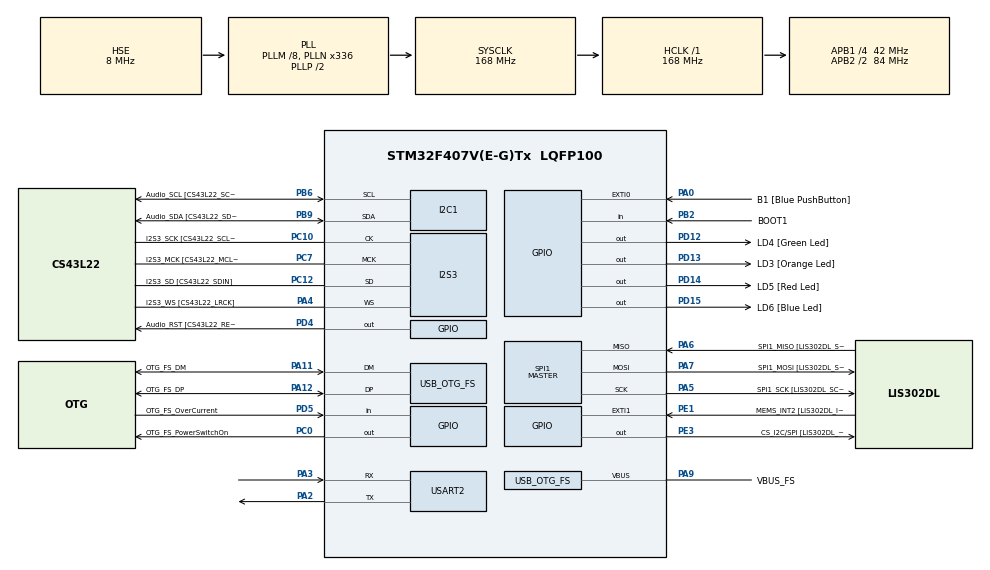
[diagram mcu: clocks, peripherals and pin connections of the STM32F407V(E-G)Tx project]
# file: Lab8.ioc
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FREERTOS.Queues01=myQueue01,8,uint16_t,0,Dynamic,NULL,NULL
FREERTOS.Tasks01=defaultTask,0,128,StartDefaultTask,Default,NULL,Dynamic,NULL,NULL
FREERTOS.Timers01=ledTimer,Callback01,osTimerPeriodic,Default,NULL,Dynamic,NULL
FREERTOS.configUSE_TIMERS=1
I2S3.AudioFreq-Half_Duplex_Master=I2S_AUDIOFREQ_96K
I2S3.ErrorAudioFreq=-2.34 %
I2S3.ErrorAudioFreq-Half_Duplex_Master=0.8 %
I2S3.FullDuplexMode=I2S_FULLDUPLEXMODE_DISABLE
I2S3.Instance=SPI$Index
I2S3.RealAudioFreq=93.75 KHz
I2S3.RealAudioFreq-Half_Duplex_Master=96.774 KHz
I2S3.VirtualMode=I2S_MODE_MASTER
Mcu.Family=STM32F4
Mcu.Name=STM32F407V(E-G)Tx
Mcu.Package=LQFP100
NVIC.OTG_FS_IRQn=true\:5\:0\:false\:false\:true\:true\:true
NVIC.PriorityGroup=NVIC_PRIORITYGROUP_4
PA0-WKUP.GPIO_Label=B1 [Blue PushButton]
PA0-WKUP.GPIO_ModeDefaultEXTI=GPIO_MODE_EVT_RISING
PA0-WKUP.GPIO_PuPd=GPIO_NOPULL
PA0-WKUP.Signal=GPXTI0
PA10.GPIO_Label=OTG_FS_ID
PA10.GPIO_Mode=GPIO_MODE_AF_PP
PA10.GPIO_PuPd=GPIO_NOPULL
PA10.GPIO_Speed=GPIO_SPEED_FREQ_LOW
PA10.Signal=USB_OTG_FS_ID
PA11.GPIO_Label=OTG_FS_DM
PA11.GPIO_Mode=GPIO_MODE_AF_PP
PA11.GPIO_PuPd=GPIO_NOPULL
PA11.GPIO_Speed=GPIO_SPEED_FREQ_LOW
PA11.Mode=Host_Only
PA11.Signal=USB_OTG_FS_DM
PA12.GPIO_Label=OTG_FS_DP
PA12.GPIO_Mode=GPIO_MODE_AF_PP
PA12.GPIO_PuPd=GPIO_NOPULL
PA12.GPIO_Speed=GPIO_SPEED_FREQ_LOW
PA12.Mode=Host_Only
PA12.Signal=USB_OTG_FS_DP
PA13.GPIO_Label=SWDIO
PA13.Mode=Serial_Wire
PA13.Signal=SYS_JTMS-SWDIO
PA14.GPIO_Label=SWCLK
PA14.Mode=Serial_Wire
PA14.Signal=SYS_JTCK-SWCLK
PA2.Mode=Asynchronous
PA2.Signal=USART2_TX
PA3.Mode=Asynchronous
PA3.Signal=USART2_RX
PA4.GPIO_Label=I2S3_WS [CS43L22_LRCK]
PA4.GPIO_Mode=GPIO_MODE_AF_PP
PA4.GPIO_PuPd=GPIO_NOPULL
PA4.GPIO_Speed=GPIO_SPEED_FREQ_LOW
PA4.Mode=Half_Duplex_Master
PA4.Signal=I2S3_WS
PA5.GPIO_Label=SPI1_SCK [LIS302DL_SCL/SPC]
PA5.GPIO_Mode=GPIO_MODE_AF_PP
PA5.GPIO_PuPd=GPIO_NOPULL
PA5.GPIO_Speed=GPIO_SPEED_FREQ_LOW
PA5.Mode=Full_Duplex_Master
PA5.Signal=SPI1_SCK
PA6.GPIO_Label=SPI1_MISO [LIS302DL_SDO]
PA6.GPIO_Mode=GPIO_MODE_AF_PP
PA6.GPIO_PuPd=GPIO_NOPULL
PA6.GPIO_Speed=GPIO_SPEED_FREQ_LOW
PA6.Mode=Full_Duplex_Master
PA6.Signal=SPI1_MISO
PA7.GPIO_Label=SPI1_MOSI [LIS302DL_SDA/SDI/SDO]
PA7.GPIO_Mode=GPIO_MODE_AF_PP
PA7.GPIO_PuPd=GPIO_NOPULL
PA7.GPIO_Speed=GPIO_SPEED_FREQ_LOW
PA7.Mode=Full_Duplex_Master
PA7.Signal=SPI1_MOSI
PA9.GPIO_Label=VBUS_FS
PA9.GPIO_Mode=GPIO_MODE_INPUT
PA9.GPIO_PuPd=GPIO_NOPULL
PA9.Mode=Activate_VBUS
PA9.Signal=USB_OTG_FS_VBUS
PB10.GPIO_Label=CLK_IN [MP45DT02_CLK]
PB10.GPIO_Mode=GPIO_MODE_AF_PP
PB10.GPIO_PuPd=GPIO_NOPULL
PB10.GPIO_Speed=GPIO_SPEED_FREQ_LOW
PB10.Signal=I2S2_CK
PB2.GPIO_Label=BOOT1
PB2.GPIO_Mode=GPIO_MODE_INPUT
PB2.GPIO_PuPd=GPIO_NOPULL
PB2.Signal=GPIO_Input
PB3.GPIO_Label=SWO
PB3.Signal=SYS_JTDO-SWO
PB6.GPIO_Label=Audio_SCL [CS43L22_SCL]
PB6.GPIO_Mode=GPIO_MODE_AF_OD
PB6.GPIO_PuPd=GPIO_NOPULL
PB6.GPIO_Speed=GPIO_SPEED_FREQ_LOW
PB6.Mode=I2C
PB6.Signal=I2C1_SCL
PB9.GPIO_Label=Audio_SDA [CS43L22_SDA]
PB9.GPIO_Mode=GPIO_MODE_AF_OD
PB9.GPIO_PuPd=GPIO_NOPULL
PB9.GPIO_Speed=GPIO_SPEED_FREQ_LOW
PB9.Mode=I2C
PB9.Signal=I2C1_SDA
PC0.GPIO_Label=OTG_FS_PowerSwitchOn
PC0.GPIO_PuPd=GPIO_NOPULL
PC0.GPIO_Speed=GPIO_SPEED_FREQ_LOW
PC0.PinState=GPIO_PIN_SET
PC0.Signal=GPIO_Output
PC10.GPIO_Label=I2S3_SCK [CS43L22_SCLK]
PC10.GPIO_Mode=GPIO_MODE_AF_PP
PC10.GPIO_PuPd=GPIO_NOPULL
PC10.GPIO_Speed=GPIO_SPEED_FREQ_LOW
PC10.Mode=Half_Duplex_Master
PC10.Signal=I2S3_CK
PC12.GPIO_Label=I2S3_SD [CS43L22_SDIN]
PC12.GPIO_Mode=GPIO_MODE_AF_PP
PC12.GPIO_PuPd=GPIO_NOPULL
PC12.GPIO_Speed=GPIO_SPEED_FREQ_LOW
PC12.Mode=Half_Duplex_Master
PC12.Signal=I2S3_SD
PC14-OSC32_IN.GPIO_Label=PC14-OSC32_IN
PC14-OSC32_IN.Mode=LSE-External-Oscillator
PC14-OSC32_IN.Signal=RCC_OSC32_IN
PC15-OSC32_OUT.GPIO_Label=PC15-OSC32_OUT
PC15-OSC32_OUT.Mode=LSE-External-Oscillator
PC15-OSC32_OUT.Signal=RCC_OSC32_OUT
PC3.GPIO_Label=PDM_OUT [MP45DT02_DOUT]
PC3.GPIO_Mode=GPIO_MODE_AF_PP
PC3.GPIO_PuPd=GPIO_NOPULL
PC3.GPIO_Speed=GPIO_SPEED_FREQ_LOW
PC3.Signal=I2S2_SD
PC7.GPIO_Label=I2S3_MCK [CS43L22_MCLK]
PC7.GPIO_Mode=GPIO_MODE_AF_PP
PC7.GPIO_PuPd=GPIO_NOPULL
PC7.GPIO_Speed=GPIO_SPEED_FREQ_LOW
PC7.Mode=Master_Clock_Activated
PC7.Signal=I2S3_MCK
PD12.GPIO_Label=LD4 [Green Led]
PD12.GPIO_PuPd=GPIO_NOPULL
PD12.GPIO_Speed=GPIO_SPEED_FREQ_LOW
PD12.Signal=GPIO_Output
PD13.GPIO_Label=LD3 [Orange Led]
PD13.GPIO_PuPd=GPIO_NOPULL
PD13.GPIO_Speed=GPIO_SPEED_FREQ_LOW
PD13.Signal=GPIO_Output
PD14.GPIO_Label=LD5 [Red Led]
PD14.GPIO_PuPd=GPIO_NOPULL
PD14.GPIO_Speed=GPIO_SPEED_FREQ_LOW
PD14.Signal=GPIO_Output
PD15.GPIO_Label=LD6 [Blue Led]
PD15.GPIO_PuPd=GPIO_NOPULL
PD15.GPIO_Speed=GPIO_SPEED_FREQ_LOW
PD15.Signal=GPIO_Output
PD4.GPIO_Label=Audio_RST [CS43L22_RESET]
PD4.GPIO_PuPd=GPIO_NOPULL
PD4.GPIO_Speed=GPIO_SPEED_FREQ_LOW
PD4.Signal=GPIO_Output
PD5.GPIO_Label=OTG_FS_OverCurrent
PD5.GPIO_Mode=GPIO_MODE_INPUT
PD5.GPIO_PuPd=GPIO_NOPULL
PD5.Signal=GPIO_Input
PE1.GPIO_Label=MEMS_INT2 [LIS302DL_INT2]
PE1.GPIO_ModeDefaultEXTI=GPIO_MODE_EVT_RISING
PE1.GPIO_PuPd=GPIO_NOPULL
PE1.Signal=GPXTI1
PE3.GPIO_Label=CS_I2C/SPI [LIS302DL_CS_I2C/SPI]
PE3.GPIO_PuPd=GPIO_NOPULL
PE3.GPIO_Speed=GPIO_SPEED_FREQ_LOW
PE3.Signal=GPIO_Output
PH0-OSC_IN.GPIO_Label=PH0-OSC_IN
PH0-OSC_IN.Mode=HSE-External-Oscillator
PH0-OSC_IN.Signal=RCC_OSC_IN
PH1-OSC_OUT.GPIO_Label=PH1-OSC_OUT
PH1-OSC_OUT.Mode=HSE-External-Oscillator
PH1-OSC_OUT.Signal=RCC_OSC_OUT
ProjectManager.HeapSize=0x200
ProjectManager.StackSize=0x400
ProjectManager.TargetToolchain=SW4STM32
RCC.48MHZClocksFreq_Value=48000000
RCC.AHBFreq_Value=168000000
RCC.APB1CLKDivider=RCC_HCLK_DIV4
RCC.APB1Freq_Value=42000000
RCC.APB1TimFreq_Value=84000000
RCC.APB2CLKDivider=RCC_HCLK_DIV2
RCC.APB2Freq_Value=84000000
RCC.APB2TimFreq_Value=168000000
RCC.CortexFreq_Value=168000000
RCC.HCLKFreq_Value=168000000
RCC.HSE_VALUE=8000000
RCC.HSI_VALUE=16000000
RCC.PLLM=8
RCC.PLLN=336
RCC.PLLQ=7
RCC.SYSCLKFreq_VALUE=168000000
RCC.SYSCLKSource=RCC_SYSCLKSOURCE_PLLCLK
RCC.VCOOutputFreq_Value=336000000
SPI1.BaudRatePrescaler-Full_Duplex_Master=SPI_BAUDRATEPRESCALER_2
SPI1.CalculateBaudRate-Full_Duplex_Master=42.0 MBits/s
SPI1.Direction=SPI_DIRECTION_2LINES
SPI1.Mode=SPI_MODE_MASTER
SPI1.Mode-Full_Duplex_Master=SPI_MODE_MASTER
SPI1.VirtualType=VM_MASTER
USART2.VirtualMode=VM_ASYNC
USB_HOST.BSP.number=1
USB_HOST.USBH_HandleTypeDef-CDC_FS=hUsbHostFS
USB_HOST.VirtualModeFS=Cdc
USB_HOST0.BSP.STBoard=false
USB_HOST0.BSP.api=Unknown
USB_HOST0.BSP.i2caddr=0
USB_HOST0.BSP.i2creg=0
USB_HOST0.BSP.instance=PC0
USB_HOST0.BSP.ip=GPIO
USB_HOST0.BSP.mode=Output
USB_HOST0.BSP.name=Drive_VBUS_FS
USB_HOST0.BSP.solution=PC0
USB_OTG_FS.VirtualMode=Host_Only
USB_OTG_FS.phy_itface=HCD_PHY_EMBEDDED
VP_FREERTOS_VS_ENABLE.Mode=Enabled
VP_USB_HOST_VS_USB_HOST_CDC_FS.Mode=CDC_FS
board=STM32F4DISCOVERY

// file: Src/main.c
/**
  ******************************************************************************
  * @file           : main.c
  * @brief          : Main program body
  ******************************************************************************
  * This notice applies to any and all portions of this file
  * that are not between comment pairs USER CODE BEGIN and
  * USER CODE END. Other portions of this file, whether
  * inserted by the user or by software development tools
  * are owned by their respective copyright owners.
  *
  * Copyright (c) 2018 STMicroelectronics International N.V.
  * All rights reserved.
  *
  * Redistribution and use in source and binary forms, with or without
  * modification, are permitted, provided that the following conditions are met:
  *
  * 1. Redistribution of source code must retain the above copyright notice,
  *    this list of conditions and the following disclaimer.
  * 2. Redistributions in binary form must reproduce the above copyright notice,
  *    this list of conditions and the following disclaimer in the documentation
  *    and/or other materials provided with the distribution.
  * 3. Neither the name of STMicroelectronics nor the names of other
  *    contributors to this software may be used to endorse or promote products
  *    derived from this software without specific written permission.
  * 4. This software, including modifications and/or derivative works of this
  *    software, must execute solely and exclusively on microcontroller or
  *    microprocessor devices manufactured by or for STMicroelectronics.
  * 5. Redistribution and use of this software other than as permitted under
  *    this license is void and will automatically terminate your rights under
  *    this license.
  *
  * THIS SOFTWARE IS PROVIDED BY STMICROELECTRONICS AND CONTRIBUTORS "AS IS"
  * AND ANY EXPRESS, IMPLIED OR STATUTORY WARRANTIES, INCLUDING, BUT NOT
  * LIMITED TO, THE IMPLIED WARRANTIES OF MERCHANTABILITY, FITNESS FOR A
  * PARTICULAR PURPOSE AND NON-INFRINGEMENT OF THIRD PARTY INTELLECTUAL PROPERTY
  * RIGHTS ARE DISCLAIMED TO THE FULLEST EXTENT PERMITTED BY LAW. IN NO EVENT
  * SHALL STMICROELECTRONICS OR CONTRIBUTORS BE LIABLE FOR ANY DIRECT, INDIRECT,
  * INCIDENTAL, SPECIAL, EXEMPLARY, OR CONSEQUENTIAL DAMAGES (INCLUDING, BUT NOT
  * LIMITED TO, PROCUREMENT OF SUBSTITUTE GOODS OR SERVICES; LOSS OF USE, DATA,
  * OR PROFITS; OR BUSINESS INTERRUPTION) HOWEVER CAUSED AND ON ANY THEORY OF
  * LIABILITY, WHETHER IN CONTRACT, STRICT LIABILITY, OR TORT (INCLUDING
  * NEGLIGENCE OR OTHERWISE) ARISING IN ANY WAY OUT OF THE USE OF THIS SOFTWARE,
  * EVEN IF ADVISED OF THE POSSIBILITY OF SUCH DAMAGE.
  *
  ******************************************************************************
  */
#include "main.h"
#include "stm32f4xx_hal.h"
#include "cmsis_os.h"
#include "usb_host.h"

/* USER CODE BEGIN Includes */
#define SECTION 1
/* USER CODE END Includes */

I2C_HandleTypeDef hi2c1;

I2S_HandleTypeDef hi2s3;

SPI_HandleTypeDef hspi1;

UART_HandleTypeDef huart2;

osThreadId defaultTaskHandle;
osMessageQId myQueue01Handle;
osTimerId ledTimerHandle;

/* USER CODE BEGIN PV */
/* Private variables ---------------------------------------------------------*/

/* USER CODE END PV */

void SystemClock_Config(void);
static void MX_GPIO_Init(void);
static void MX_I2C1_Init(void);
static void MX_I2S3_Init(void);
static void MX_SPI1_Init(void);
static void MX_USART2_UART_Init(void);
void StartDefaultTask(void const * argument);
void Callback01(void const * argument);

/* USER CODE BEGIN PFP */
/* Private function prototypes -----------------------------------------------*/

/* USER CODE END PFP */

/* USER CODE BEGIN 0 */
uint32_t led_time[] = {0, 0, 0, 0};
uint32_t led_delay[] = {25, 9, 64, 32};
#if SECTION >= 1
void led_update(char idx, uint32_t time)
{
	if ((time - led_time[idx]) >= led_delay[idx])
	{
		HAL_GPIO_TogglePin(GPIOD, 1 < (12+idx));
		led_time[idx] = time;
	}
}
void led_thread(void const *args)
{
	while(1)
	{
		char i = 0;
		for (i=0;i<4;i++)
		{
			led_update(i, osKernelSysTick());
		}
	}
}

#endif
#if SECTION >= 3
SemaphoreHandle_t xSemaphore;
int idx = 0;
void uart0_thread(void const * args) {
	int threadID = 0; // threadID is 0 for one thread and 1 for another
	char buffer[32];
	while(1) {
		if (xSemaphore != NULL && xSemaphoreTake( xSemaphore, ( TickType_t ) 10 ) == pdTRUE)
		{
#if SECTION == 4
			xQueueReceive( myQueue01Handle, &( idx ), ( TickType_t ) 10 );
#endif
			sprintf(buffer, "TID: %d %d\r\n", threadID, idx);
			idx ++;
			HAL_UART_Transmit(&huart2, buffer, strlen(buffer), 1000);
#if SECTION == 4
			xQueueSend(myQueue01Handle, &(idx), ( TickType_t ) 10 );
#endif
			xSemaphoreGive( xSemaphore );
		}
	}
}
void uart1_thread(void const * args) {
	int threadID = 1; // threadID is 0 for one thread and 1 for another
	char buffer[32];
	while(1) {
		if (xSemaphore != NULL && xSemaphoreTake( xSemaphore, ( TickType_t ) 10 ) == pdTRUE)
		{
#if SECTION == 4
			xQueueReceive( myQueue01Handle, &( idx ), ( TickType_t ) 10 );
#endif
			sprintf(buffer, "TID: %d %d\r\n", threadID, idx);
			idx ++;
			HAL_UART_Transmit(&huart2, buffer, strlen(buffer), 1000);
#if SECTION == 4
			xQueueSend(myQueue01Handle, &(idx), ( TickType_t ) 10 );
#endif
			xSemaphoreGive( xSemaphore );
		}
	}
}
#endif
/* USER CODE END 0 */

int main(void)
{

  /* MCU Configuration----------------------------------------------------------*/

  /* Reset of all peripherals, Initializes the Flash interface and the Systick. */
  HAL_Init();

  /* Configure the system clock */
  SystemClock_Config();

  /* Initialize all configured peripherals */
  MX_GPIO_Init();
  MX_I2C1_Init();
  MX_I2S3_Init();
  MX_SPI1_Init();
  MX_USART2_UART_Init();

  /* USER CODE BEGIN RTOS_SEMAPHORES */
  /* add semaphores, ... */
#if SECTION >= 3
  xSemaphore = xSemaphoreCreateBinary();
#endif
  /* USER CODE END RTOS_SEMAPHORES */

  /* Create the timer(s) */
  /* definition and creation of ledTimer */
  osTimerDef(ledTimer, Callback01);
  ledTimerHandle = osTimerCreate(osTimer(ledTimer), osTimerPeriodic, NULL);

  /* Create the thread(s) */
  /* definition and creation of defaultTask */
  osThreadDef(defaultTask, StartDefaultTask, osPriorityNormal, 0, 128);
  defaultTaskHandle = osThreadCreate(osThread(defaultTask), NULL);

  /* USER CODE BEGIN RTOS_THREADS */
  /* add threads, ... */
#if SECTION == 1
  osThreadDef(led, led_thread, osPriorityNormal, 0, 128);
  osThreadId ledTaskHandle = osThreadCreate(osThread(led), NULL);
#elif SECTION >= 3
  osThreadDef(uart0, uart0_thread, osPriorityNormal, 0, 128);
  osThreadId uart0TaskHandle = osThreadCreate(osThread(uart0), NULL);
  osThreadDef(uart1, uart1_thread, osPriorityNormal, 0, 128);
  osThreadId uart1TaskHandle = osThreadCreate(osThread(uart1), NULL);
#endif
  /* USER CODE END RTOS_THREADS */

  /* Create the queue(s) */
  /* definition and creation of myQueue01 */
/* what about the sizeof here??? cd native code */
  osMessageQDef(myQueue01, 8, uint16_t);
  myQueue01Handle = osMessageCreate(osMessageQ(myQueue01), NULL);

  /* Start scheduler */
  osKernelStart();

  /* We should never get here as control is now taken by the scheduler */

  /* Infinite loop */
  while (1)
  {

  }

}

void SystemClock_Config(void)
{

  RCC_OscInitTypeDef RCC_OscInitStruct;
  RCC_ClkInitTypeDef RCC_ClkInitStruct;
  RCC_PeriphCLKInitTypeDef PeriphClkInitStruct;

    /**Configure the main internal regulator output voltage
    */
  __HAL_RCC_PWR_CLK_ENABLE();

  __HAL_PWR_VOLTAGESCALING_CONFIG(PWR_REGULATOR_VOLTAGE_SCALE1);

    /**Initializes the CPU, AHB and APB busses clocks
    */
  RCC_OscInitStruct.OscillatorType = RCC_OSCILLATORTYPE_HSE;
  RCC_OscInitStruct.HSEState = RCC_HSE_ON;
  RCC_OscInitStruct.PLL.PLLState = RCC_PLL_ON;
  RCC_OscInitStruct.PLL.PLLSource = RCC_PLLSOURCE_HSE;
  RCC_OscInitStruct.PLL.PLLM = 8;
  RCC_OscInitStruct.PLL.PLLN = 336;
  RCC_OscInitStruct.PLL.PLLP = RCC_PLLP_DIV2;
  RCC_OscInitStruct.PLL.PLLQ = 7;
  if (HAL_RCC_OscConfig(&RCC_OscInitStruct) != HAL_OK)
  {
    _Error_Handler(__FILE__, __LINE__);
  }

    /**Initializes the CPU, AHB and APB busses clocks
    */
  RCC_ClkInitStruct.ClockType = RCC_CLOCKTYPE_HCLK|RCC_CLOCKTYPE_SYSCLK
                              |RCC_CLOCKTYPE_PCLK1|RCC_CLOCKTYPE_PCLK2;
  RCC_ClkInitStruct.SYSCLKSource = RCC_SYSCLKSOURCE_PLLCLK;
  RCC_ClkInitStruct.AHBCLKDivider = RCC_SYSCLK_DIV1;
  RCC_ClkInitStruct.APB1CLKDivider = RCC_HCLK_DIV4;
  RCC_ClkInitStruct.APB2CLKDivider = RCC_HCLK_DIV2;

  if (HAL_RCC_ClockConfig(&RCC_ClkInitStruct, FLASH_LATENCY_5) != HAL_OK)
  {
    _Error_Handler(__FILE__, __LINE__);
  }

  PeriphClkInitStruct.PeriphClockSelection = RCC_PERIPHCLK_I2S;
  PeriphClkInitStruct.PLLI2S.PLLI2SN = 192;
  PeriphClkInitStruct.PLLI2S.PLLI2SR = 2;
  if (HAL_RCCEx_PeriphCLKConfig(&PeriphClkInitStruct) != HAL_OK)
  {
    _Error_Handler(__FILE__, __LINE__);
  }

    /**Configure the Systick interrupt time
    */
  HAL_SYSTICK_Config(HAL_RCC_GetHCLKFreq()/1000);

    /**Configure the Systick
    */
  HAL_SYSTICK_CLKSourceConfig(SYSTICK_CLKSOURCE_HCLK);

  /* SysTick_IRQn interrupt configuration */
  HAL_NVIC_SetPriority(SysTick_IRQn, 15, 0);
}

/* I2C1 init function */
static void MX_I2C1_Init(void)
{

  hi2c1.Instance = I2C1;
  hi2c1.Init.ClockSpeed = 100000;
  hi2c1.Init.DutyCycle = I2C_DUTYCYCLE_2;
  hi2c1.Init.OwnAddress1 = 0;
  hi2c1.Init.AddressingMode = I2C_ADDRESSINGMODE_7BIT;
  hi2c1.Init.DualAddressMode = I2C_DUALADDRESS_DISABLE;
  hi2c1.Init.OwnAddress2 = 0;
  hi2c1.Init.GeneralCallMode = I2C_GENERALCALL_DISABLE;
  hi2c1.Init.NoStretchMode = I2C_NOSTRETCH_DISABLE;
  if (HAL_I2C_Init(&hi2c1) != HAL_OK)
  {
    _Error_Handler(__FILE__, __LINE__);
  }

}

/* I2S3 init function */
static void MX_I2S3_Init(void)
{

  hi2s3.Instance = SPI3;
  hi2s3.Init.Mode = I2S_MODE_MASTER_TX;
  hi2s3.Init.Standard = I2S_STANDARD_PHILIPS;
  hi2s3.Init.DataFormat = I2S_DATAFORMAT_16B;
  hi2s3.Init.MCLKOutput = I2S_MCLKOUTPUT_ENABLE;
  hi2s3.Init.AudioFreq = I2S_AUDIOFREQ_96K;
  hi2s3.Init.CPOL = I2S_CPOL_LOW;
  hi2s3.Init.ClockSource = I2S_CLOCK_PLL;
  hi2s3.Init.FullDuplexMode = I2S_FULLDUPLEXMODE_DISABLE;
  if (HAL_I2S_Init(&hi2s3) != HAL_OK)
  {
    _Error_Handler(__FILE__, __LINE__);
  }

}

/* SPI1 init function */
static void MX_SPI1_Init(void)
{

  /* SPI1 parameter configuration*/
  hspi1.Instance = SPI1;
  hspi1.Init.Mode = SPI_MODE_MASTER;
  hspi1.Init.Direction = SPI_DIRECTION_2LINES;
  hspi1.Init.DataSize = SPI_DATASIZE_8BIT;
  hspi1.Init.CLKPolarity = SPI_POLARITY_LOW;
  hspi1.Init.CLKPhase = SPI_PHASE_1EDGE;
  hspi1.Init.NSS = SPI_NSS_SOFT;
  hspi1.Init.BaudRatePrescaler = SPI_BAUDRATEPRESCALER_2;
  hspi1.Init.FirstBit = SPI_FIRSTBIT_MSB;
  hspi1.Init.TIMode = SPI_TIMODE_DISABLE;
  hspi1.Init.CRCCalculation = SPI_CRCCALCULATION_DISABLE;
  hspi1.Init.CRCPolynomial = 10;
  if (HAL_SPI_Init(&hspi1) != HAL_OK)
  {
    _Error_Handler(__FILE__, __LINE__);
  }

}

/* USART2 init function */
static void MX_USART2_UART_Init(void)
{

  huart2.Instance = USART2;
  huart2.Init.BaudRate = 115200;
  huart2.Init.WordLength = UART_WORDLENGTH_8B;
  huart2.Init.StopBits = UART_STOPBITS_1;
  huart2.Init.Parity = UART_PARITY_NONE;
  huart2.Init.Mode = UART_MODE_TX_RX;
  huart2.Init.HwFlowCtl = UART_HWCONTROL_NONE;
  huart2.Init.OverSampling = UART_OVERSAMPLING_16;
  if (HAL_UART_Init(&huart2) != HAL_OK)
  {
    _Error_Handler(__FILE__, __LINE__);
  }

}

/** Configure pins as
        * Analog
        * Input
        * Output
        * EVENT_OUT
        * EXTI
     PC3   ------> I2S2_SD
     PB10   ------> I2S2_CK
*/
static void MX_GPIO_Init(void)
{

  GPIO_InitTypeDef GPIO_InitStruct;

  /* GPIO Ports Clock Enable */
  __HAL_RCC_GPIOE_CLK_ENABLE();
  __HAL_RCC_GPIOC_CLK_ENABLE();
  __HAL_RCC_GPIOH_CLK_ENABLE();
  __HAL_RCC_GPIOA_CLK_ENABLE();
  __HAL_RCC_GPIOB_CLK_ENABLE();
  __HAL_RCC_GPIOD_CLK_ENABLE();

  /*Configure GPIO pin Output Level */
  HAL_GPIO_WritePin(CS_I2C_SPI_GPIO_Port, CS_I2C_SPI_Pin, GPIO_PIN_RESET);

  /*Configure GPIO pin Output Level */
  HAL_GPIO_WritePin(OTG_FS_PowerSwitchOn_GPIO_Port, OTG_FS_PowerSwitchOn_Pin, GPIO_PIN_SET);

  /*Configure GPIO pin Output Level */
  HAL_GPIO_WritePin(GPIOD, LD4_Pin|LD3_Pin|LD5_Pin|LD6_Pin
                          |Audio_RST_Pin, GPIO_PIN_RESET);

  /*Configure GPIO pin : CS_I2C_SPI_Pin */
  GPIO_InitStruct.Pin = CS_I2C_SPI_Pin;
  GPIO_InitStruct.Mode = GPIO_MODE_OUTPUT_PP;
  GPIO_InitStruct.Pull = GPIO_NOPULL;
  GPIO_InitStruct.Speed = GPIO_SPEED_FREQ_LOW;
  HAL_GPIO_Init(CS_I2C_SPI_GPIO_Port, &GPIO_InitStruct);

  /*Configure GPIO pin : OTG_FS_PowerSwitchOn_Pin */
  GPIO_InitStruct.Pin = OTG_FS_PowerSwitchOn_Pin;
  GPIO_InitStruct.Mode = GPIO_MODE_OUTPUT_PP;
  GPIO_InitStruct.Pull = GPIO_NOPULL;
  GPIO_InitStruct.Speed = GPIO_SPEED_FREQ_LOW;
  HAL_GPIO_Init(OTG_FS_PowerSwitchOn_GPIO_Port, &GPIO_InitStruct);

  /*Configure GPIO pin : PDM_OUT_Pin */
  GPIO_InitStruct.Pin = PDM_OUT_Pin;
  GPIO_InitStruct.Mode = GPIO_MODE_AF_PP;
  GPIO_InitStruct.Pull = GPIO_NOPULL;
  GPIO_InitStruct.Speed = GPIO_SPEED_FREQ_LOW;
  GPIO_InitStruct.Alternate = GPIO_AF5_SPI2;
  HAL_GPIO_Init(PDM_OUT_GPIO_Port, &GPIO_InitStruct);

  /*Configure GPIO pin : B1_Pin */
  GPIO_InitStruct.Pin = B1_Pin;
  GPIO_InitStruct.Mode = GPIO_MODE_EVT_RISING;
  GPIO_InitStruct.Pull = GPIO_NOPULL;
  HAL_GPIO_Init(B1_GPIO_Port, &GPIO_InitStruct);

  /*Configure GPIO pin : BOOT1_Pin */
  GPIO_InitStruct.Pin = BOOT1_Pin;
  GPIO_InitStruct.Mode = GPIO_MODE_INPUT;
  GPIO_InitStruct.Pull = GPIO_NOPULL;
  HAL_GPIO_Init(BOOT1_GPIO_Port, &GPIO_InitStruct);

  /*Configure GPIO pin : CLK_IN_Pin */
  GPIO_InitStruct.Pin = CLK_IN_Pin;
  GPIO_InitStruct.Mode = GPIO_MODE_AF_PP;
  GPIO_InitStruct.Pull = GPIO_NOPULL;
  GPIO_InitStruct.Speed = GPIO_SPEED_FREQ_LOW;
  GPIO_InitStruct.Alternate = GPIO_AF5_SPI2;
  HAL_GPIO_Init(CLK_IN_GPIO_Port, &GPIO_InitStruct);

  /*Configure GPIO pins : LD4_Pin LD3_Pin LD5_Pin LD6_Pin
                           Audio_RST_Pin */
  GPIO_InitStruct.Pin = LD4_Pin|LD3_Pin|LD5_Pin|LD6_Pin
                          |Audio_RST_Pin;
  GPIO_InitStruct.Mode = GPIO_MODE_OUTPUT_PP;
  GPIO_InitStruct.Pull = GPIO_NOPULL;
  GPIO_InitStruct.Speed = GPIO_SPEED_FREQ_LOW;
  HAL_GPIO_Init(GPIOD, &GPIO_InitStruct);

  /*Configure GPIO pin : OTG_FS_OverCurrent_Pin */
  GPIO_InitStruct.Pin = OTG_FS_OverCurrent_Pin;
  GPIO_InitStruct.Mode = GPIO_MODE_INPUT;
  GPIO_InitStruct.Pull = GPIO_NOPULL;
  HAL_GPIO_Init(OTG_FS_OverCurrent_GPIO_Port, &GPIO_InitStruct);

  /*Configure GPIO pin : MEMS_INT2_Pin */
  GPIO_InitStruct.Pin = MEMS_INT2_Pin;
  GPIO_InitStruct.Mode = GPIO_MODE_EVT_RISING;
  GPIO_InitStruct.Pull = GPIO_NOPULL;
  HAL_GPIO_Init(MEMS_INT2_GPIO_Port, &GPIO_InitStruct);

}

void StartDefaultTask(void const * argument)
{
  /* init code for USB_HOST */
  MX_USB_HOST_Init();

  /* USER CODE BEGIN 5 */
#if SECTION >= 2
  osTimerStart(ledTimerHandle, 1);
#endif
  /* Infinite loop */
  for(;;)
  {
    osDelay(1);
  }
  /* USER CODE END 5 */
}

/* Callback01 function */
void Callback01(void const * argument)
{
  /* USER CODE BEGIN Callback01 */
	char i = 0;
	for (i=0;i<4;i++)
	{
		led_update(i, osKernelSysTick());
	}
  /* USER CODE END Callback01 */
}

void _Error_Handler(char *file, int line)
{
  while(1)
  {
  }
}

/************************ (C) COPYRIGHT STMicroelectronics *****END OF FILE****/
